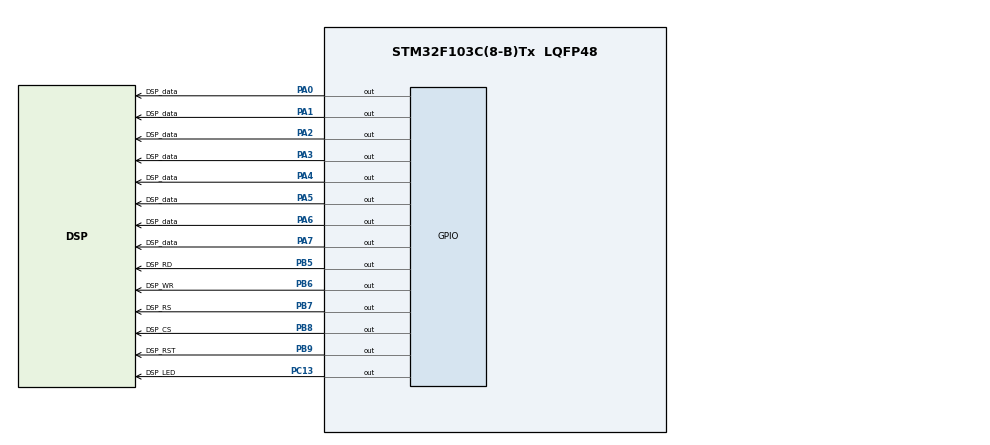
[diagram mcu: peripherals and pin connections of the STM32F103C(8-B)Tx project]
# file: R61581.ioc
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Mcu.Family=STM32F1
Mcu.Name=STM32F103C(8-B)Tx
Mcu.Package=LQFP48
NVIC.PriorityGroup=NVIC_PRIORITYGROUP_4
PA0-WKUP.GPIO_Label=DSP_data
PA0-WKUP.GPIO_ModeDefaultOutputPP=GPIO_MODE_OUTPUT_PP
PA0-WKUP.GPIO_Speed=GPIO_SPEED_FREQ_HIGH
PA0-WKUP.PinState=GPIO_PIN_RESET
PA0-WKUP.Signal=GPIO_Output
PA1.GPIO_Label=DSP_data
PA1.GPIO_ModeDefaultOutputPP=GPIO_MODE_OUTPUT_PP
PA1.GPIO_Speed=GPIO_SPEED_FREQ_HIGH
PA1.PinState=GPIO_PIN_RESET
PA1.Signal=GPIO_Output
PA13.Mode=Serial_Wire
PA13.Signal=SYS_JTMS-SWDIO
PA14.Mode=Serial_Wire
PA14.Signal=SYS_JTCK-SWCLK
PA2.GPIO_Label=DSP_data
PA2.GPIO_ModeDefaultOutputPP=GPIO_MODE_OUTPUT_PP
PA2.GPIO_Speed=GPIO_SPEED_FREQ_HIGH
PA2.PinState=GPIO_PIN_RESET
PA2.Signal=GPIO_Output
PA3.GPIO_Label=DSP_data
PA3.GPIO_ModeDefaultOutputPP=GPIO_MODE_OUTPUT_PP
PA3.GPIO_Speed=GPIO_SPEED_FREQ_HIGH
PA3.PinState=GPIO_PIN_RESET
PA3.Signal=GPIO_Output
PA4.GPIO_Label=DSP_data
PA4.GPIO_ModeDefaultOutputPP=GPIO_MODE_OUTPUT_PP
PA4.GPIO_Speed=GPIO_SPEED_FREQ_HIGH
PA4.PinState=GPIO_PIN_RESET
PA4.Signal=GPIO_Output
PA5.GPIO_Label=DSP_data
PA5.GPIO_ModeDefaultOutputPP=GPIO_MODE_OUTPUT_PP
PA5.GPIO_Speed=GPIO_SPEED_FREQ_HIGH
PA5.PinState=GPIO_PIN_RESET
PA5.Signal=GPIO_Output
PA6.GPIO_Label=DSP_data
PA6.GPIO_ModeDefaultOutputPP=GPIO_MODE_OUTPUT_PP
PA6.GPIO_Speed=GPIO_SPEED_FREQ_HIGH
PA6.PinState=GPIO_PIN_RESET
PA6.Signal=GPIO_Output
PA7.GPIO_Label=DSP_data
PA7.GPIO_ModeDefaultOutputPP=GPIO_MODE_OUTPUT_PP
PA7.GPIO_Speed=GPIO_SPEED_FREQ_HIGH
PA7.PinState=GPIO_PIN_RESET
PA7.Signal=GPIO_Output
PB5.GPIO_Label=DSP_RD
PB5.GPIO_ModeDefaultOutputPP=GPIO_MODE_OUTPUT_PP
PB5.GPIO_Speed=GPIO_SPEED_FREQ_HIGH
PB5.PinState=GPIO_PIN_RESET
PB5.Signal=GPIO_Output
PB6.GPIO_Label=DSP_WR
PB6.GPIO_ModeDefaultOutputPP=GPIO_MODE_OUTPUT_PP
PB6.GPIO_Speed=GPIO_SPEED_FREQ_HIGH
PB6.PinState=GPIO_PIN_RESET
PB6.Signal=GPIO_Output
PB7.GPIO_Label=DSP_RS
PB7.GPIO_ModeDefaultOutputPP=GPIO_MODE_OUTPUT_PP
PB7.GPIO_Speed=GPIO_SPEED_FREQ_HIGH
PB7.PinState=GPIO_PIN_RESET
PB7.Signal=GPIO_Output
PB8.GPIO_Label=DSP_CS
PB8.GPIO_ModeDefaultOutputPP=GPIO_MODE_OUTPUT_PP
PB8.GPIO_Speed=GPIO_SPEED_FREQ_HIGH
PB8.PinState=GPIO_PIN_RESET
PB8.Signal=GPIO_Output
PB9.GPIO_Label=DSP_RST
PB9.GPIO_ModeDefaultOutputPP=GPIO_MODE_OUTPUT_PP
PB9.GPIO_Speed=GPIO_SPEED_FREQ_HIGH
PB9.PinState=GPIO_PIN_RESET
PB9.Signal=GPIO_Output
PC13-TAMPER-RTC.GPIO_Label=DSP_LED
PC13-TAMPER-RTC.GPIO_ModeDefaultOutputPP=GPIO_MODE_OUTPUT_PP
PC13-TAMPER-RTC.GPIO_Speed=GPIO_SPEED_FREQ_HIGH
PC13-TAMPER-RTC.PinState=GPIO_PIN_RESET
PC13-TAMPER-RTC.Signal=GPIO_Output
PD0-OSC_IN.Mode=HSE-External-Oscillator
PD0-OSC_IN.Signal=RCC_OSC_IN
PD1-OSC_OUT.Mode=HSE-External-Oscillator
PD1-OSC_OUT.Signal=RCC_OSC_OUT
ProjectManager.HeapSize=0x200
ProjectManager.StackSize=0x400
ProjectManager.TargetToolchain=Makefile
RCC.ADCPresc=RCC_ADCPCLK2_DIV6
RCC.AHBFreq_Value=72000000
RCC.APB1CLKDivider=RCC_HCLK_DIV2
RCC.APB1Freq_Value=36000000
RCC.APB1TimFreq_Value=72000000
RCC.APB2Freq_Value=72000000
RCC.APB2TimFreq_Value=72000000
RCC.HCLKFreq_Value=72000000
RCC.PLLMUL=RCC_PLL_MUL9
RCC.PLLSourceVirtual=RCC_PLLSOURCE_HSE
RCC.SYSCLKFreq_VALUE=72000000
RCC.SYSCLKSource=RCC_SYSCLKSOURCE_PLLCLK
RCC.USBFreq_Value=72000000
board=R61581

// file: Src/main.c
/* USER CODE BEGIN Header */
/**
  ******************************************************************************
  * @file           : main.c
  * @brief          : Main program body
  ******************************************************************************
  * @attention
  *
  * <h2><center>&copy; Copyright (c) 2020 STMicroelectronics.
  * All rights reserved.</center></h2>
  *
  * This software component is licensed by ST under BSD 3-Clause license,
  * the "License"; You may not use this file except in compliance with the
  * License. You may obtain a copy of the License at:
  *                        opensource.org/licenses/BSD-3-Clause
  *
  ******************************************************************************
  */
/* USER CODE END Header */

#include "main.h"
#include "gpio.h"

/* USER CODE BEGIN Includes */
#include "clock_128_mHz.h"
#include "adc_cfg.h"
#include <math.h>
#include "osc.h"
#include "tft_base.h"
#include "utoa.h"
// #include "myimage.h"

#pragma GCC diagnostic ignored "-Wimplicit-function-declaration"

#define SYSCLK_FREQ_128MHz

#define M_PI 3.14159
/* USER CODE END Includes */

/* USER CODE BEGIN PV */
/* Private variables ---------------------------------------------------------*/
// extern TIM_HandleTypeDef htim3;
extern uint16_t BACK_COLOR,POINT_COLOR;
extern uint16_t tft_W;
extern uint16_t tft_H;

/* USER CODE END PV */

void SystemClock_Config(void);
/* USER CODE BEGIN PFP */
/* Private function prototypes -----------------------------------------------*/

/* USER CODE END PFP */

int main(void)
{

  /* MCU Configuration--------------------------------------------------------*/

  /* Reset of all peripherals, Initializes the Flash interface and the Systick. */

  LL_APB2_GRP1_EnableClock(LL_APB2_GRP1_PERIPH_AFIO);
  LL_APB1_GRP1_EnableClock(LL_APB1_GRP1_PERIPH_PWR);

  NVIC_SetPriorityGrouping(NVIC_PRIORITYGROUP_4);

  /* System interrupt init*/

  /** NOJTAG: JTAG-DP Disabled and SW-DP Enabled
  */
  LL_GPIO_AF_Remap_SWJ_NOJTAG();

  /* Configure the system clock */
  SystemClock_Config();

  /* USER CODE BEGIN SysInit */
  SystemClock_128_mHz();
  /* USER CODE END SysInit */

  /* Initialize all configured peripherals */
  MX_GPIO_Init();
  /* USER CODE BEGIN 2 */
  ADC_Init(ADC1);

  tft_init();
  tft_SetRotation(1);
  tft_clear(COLOR_BLACK);

  BACK_COLOR=COLOR_RED;
  POINT_COLOR=COLOR_YELLOW;

  oscil_init();

  /* USER CODE END 2 */

  /* Infinite loop */
  /* USER CODE BEGIN WHILE */
  // HAL_TIM_Base_Init(&TIM3);
  // LL_TIM_EnableIT_UPDATE(TIM3);
  // LL_TIM_EnableCounter(TIM3);

  while (1)
  {

    /* USER CODE END WHILE */

    /* USER CODE BEGIN 3 */
    oscil_run();

  }
  /* USER CODE END 3 */
}

void SystemClock_Config(void)
{
  LL_FLASH_SetLatency(LL_FLASH_LATENCY_2);

   if(LL_FLASH_GetLatency() != LL_FLASH_LATENCY_2)
  {
    Error_Handler();
  }
  LL_RCC_HSE_Enable();

   /* Wait till HSE is ready */
  while(LL_RCC_HSE_IsReady() != 1)
  {

  }
  LL_RCC_PLL_ConfigDomain_SYS(LL_RCC_PLLSOURCE_HSE_DIV_1, LL_RCC_PLL_MUL_9);
  LL_RCC_PLL_Enable();

   /* Wait till PLL is ready */
  while(LL_RCC_PLL_IsReady() != 1)
  {

  }
  LL_RCC_SetAHBPrescaler(LL_RCC_SYSCLK_DIV_1);
  LL_RCC_SetAPB1Prescaler(LL_RCC_APB1_DIV_2);
  LL_RCC_SetAPB2Prescaler(LL_RCC_APB2_DIV_1);
  LL_RCC_SetSysClkSource(LL_RCC_SYS_CLKSOURCE_PLL);

   /* Wait till System clock is ready */
  while(LL_RCC_GetSysClkSource() != LL_RCC_SYS_CLKSOURCE_STATUS_PLL)
  {

  }
  LL_Init1msTick(72000000);
  LL_SYSTICK_SetClkSource(LL_SYSTICK_CLKSOURCE_HCLK);
  LL_SetSystemCoreClock(72000000);
}

void Error_Handler(void)
{
  while(1)
  {
  }
}

/************************ (C) COPYRIGHT STMicroelectronics *****END OF FILE****/
